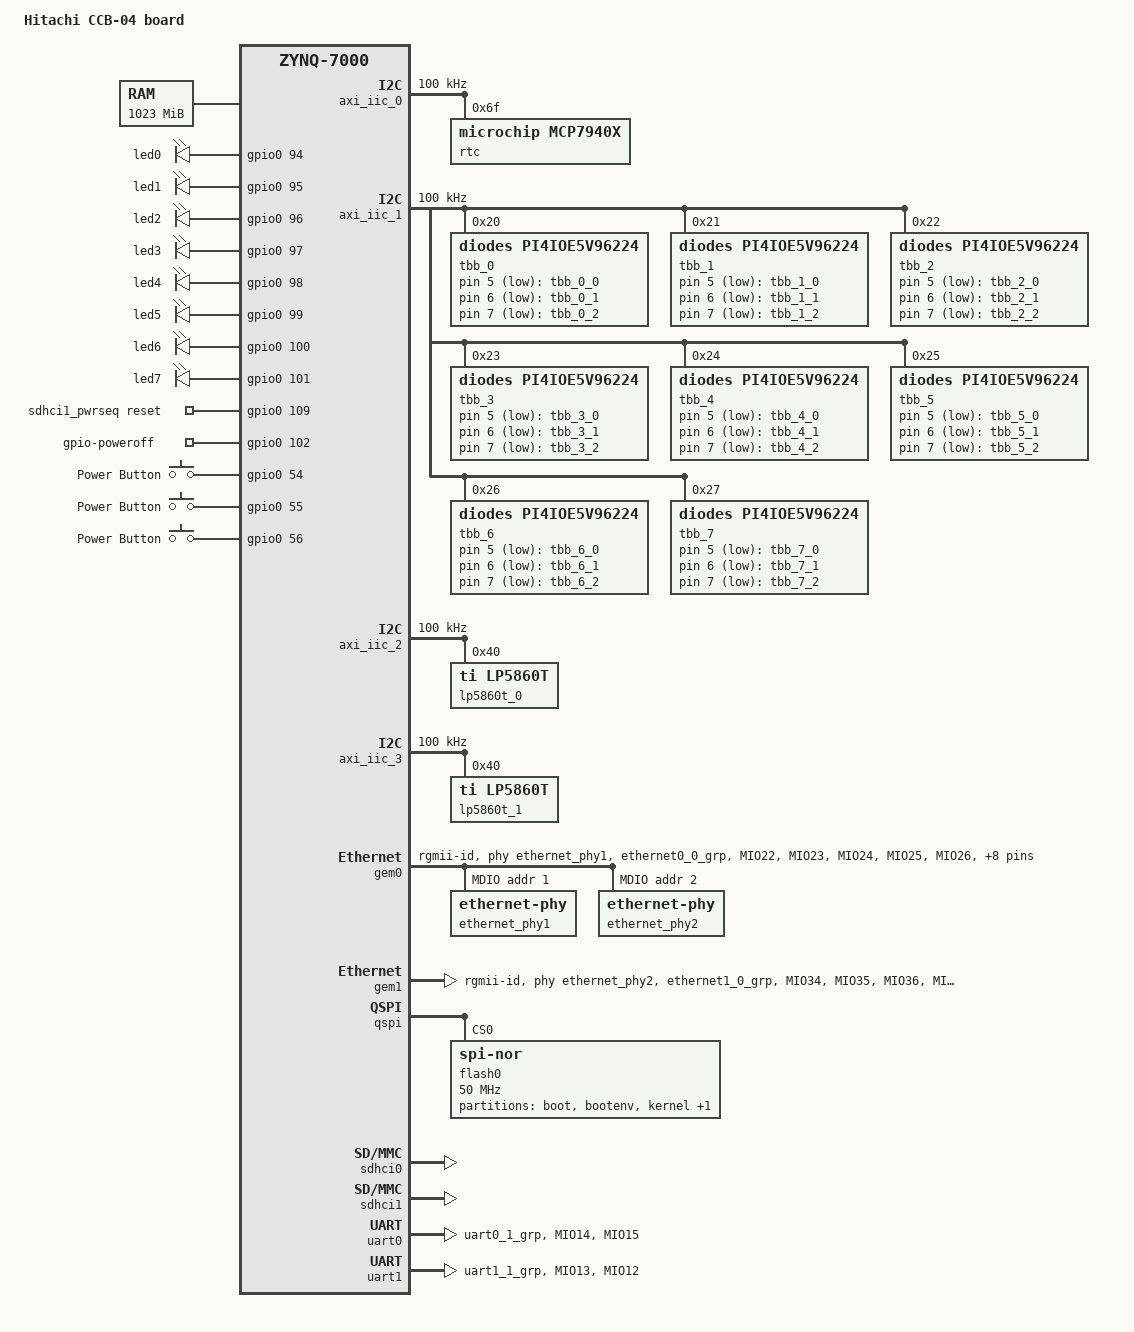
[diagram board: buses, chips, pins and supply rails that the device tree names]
// SPDX-License-Identifier: GPL-2.0+
/dts-v1/;
#include "zynq-7000.dtsi"
#include <dt-bindings/gpio/gpio.h>
#include <dt-bindings/interrupt-controller/irq.h>
#include <dt-bindings/leds/common.h>
#include <dt-bindings/input/input.h>
#include <dt-bindings/input/gpio-keys.h>

/ {
	model = "Hitachi CCB-04 board";
	compatible = "xlnx,zynq-7000";

	aliases {
		ethernet0 = &gem0;
		ethernet1 = &gem1;
		gpio512 = &gpio0;
		i2c0 = &axi_iic_0;
		i2c1 = &axi_iic_1;
		i2c2 = &axi_iic_2;
		i2c3 = &axi_iic_3;
		serial0 = &uart0;
		serial1 = &uart1;
		serial2 = &axi_rs485_0;
		serial3 = &axi_rs485_1;
		serial4 = &axi_rs485_2;
		serial5 = &axi_rs485_3;
		spi0 = &qspi;
		flash0 = &flash0;
	};

	cpus {
		cpu@0 {
			operating-points = <666666 1000000 333333 1000000>;
		};
	};

	memory@0 {
		device_type = "memory";
		reg = <0x00100000 0x3ff00000>;
	};

	chosen {
		bootargs = "console=ttyPS0,115200 root=/dev/mmcblk1p1 rw rootwait";
		stdout-path = "serial0:115200n8";
	};
	leds {
		compatible = "gpio-leds";
		led0 {
			gpios = <&gpio0 94 GPIO_ACTIVE_HIGH>;
			linux,default-trigger = "heartbeat";
			// function = LED_FUNCTION_HEARTBEAT;
		};
		led1 {
			gpios = <&gpio0 95 GPIO_ACTIVE_HIGH>;
			linux,default-trigger = "cpu";
			// function = LED_FUNCTION_CPU;
		};
		led2 {
			gpios = <&gpio0 96 GPIO_ACTIVE_HIGH>;
			linux,default-trigger = "mmc0";
			// function = LED_FUNCTION_DISK;
		};
		led3 {
            gpios = <&gpio0  97 GPIO_ACTIVE_HIGH>;
			linux,default-trigger = "mmc1";
			// function = LED_FUNCTION_DISK;
        };
		led4 { gpios = <&gpio0  98 GPIO_ACTIVE_HIGH>; };
		led5 { gpios = <&gpio0  99 GPIO_ACTIVE_HIGH>; };
		led6 { gpios = <&gpio0 100 GPIO_ACTIVE_HIGH>; };
		led7 { gpios = <&gpio0 101 GPIO_ACTIVE_HIGH>; };
    };
    tbb_0_leds {
        compatible = "gpio-leds";
        tbb_0_0 { gpios = <&tbb_0 5 GPIO_ACTIVE_LOW>; };
        tbb_0_1 { gpios = <&tbb_0 6 GPIO_ACTIVE_LOW>; };
        tbb_0_2 { gpios = <&tbb_0 7 GPIO_ACTIVE_LOW>; };
	};
    tbb_1_leds {
        compatible = "gpio-leds";
        tbb_1_0 { gpios = <&tbb_1 5 GPIO_ACTIVE_LOW>; };
        tbb_1_1 { gpios = <&tbb_1 6 GPIO_ACTIVE_LOW>; };
        tbb_1_2 { gpios = <&tbb_1 7 GPIO_ACTIVE_LOW>; };
	};
    tbb_2_leds {
        compatible = "gpio-leds";
        tbb_2_0 { gpios = <&tbb_2 5 GPIO_ACTIVE_LOW>; };
        tbb_2_1 { gpios = <&tbb_2 6 GPIO_ACTIVE_LOW>; };
        tbb_2_2 { gpios = <&tbb_2 7 GPIO_ACTIVE_LOW>; };
	};
    tbb_3_leds {
        compatible = "gpio-leds";
        tbb_3_0 { gpios = <&tbb_3 5 GPIO_ACTIVE_LOW>; };
        tbb_3_1 { gpios = <&tbb_3 6 GPIO_ACTIVE_LOW>; };
        tbb_3_2 { gpios = <&tbb_3 7 GPIO_ACTIVE_LOW>; };
	};
    tbb_4_leds {
        compatible = "gpio-leds";
        tbb_4_0 { gpios = <&tbb_4 5 GPIO_ACTIVE_LOW>; };
        tbb_4_1 { gpios = <&tbb_4 6 GPIO_ACTIVE_LOW>; };
        tbb_4_2 { gpios = <&tbb_4 7 GPIO_ACTIVE_LOW>; };
	};
    tbb_5_leds {
        compatible = "gpio-leds";
        tbb_5_0 { gpios = <&tbb_5 5 GPIO_ACTIVE_LOW>; };
        tbb_5_1 { gpios = <&tbb_5 6 GPIO_ACTIVE_LOW>; };
        tbb_5_2 { gpios = <&tbb_5 7 GPIO_ACTIVE_LOW>; };
	};
    tbb_6_leds {
        compatible = "gpio-leds";
        tbb_6_0 { gpios = <&tbb_6 5 GPIO_ACTIVE_LOW>; };
        tbb_6_1 { gpios = <&tbb_6 6 GPIO_ACTIVE_LOW>; };
        tbb_6_2 { gpios = <&tbb_6 7 GPIO_ACTIVE_LOW>; };
	};
    tbb_7_leds {
        compatible = "gpio-leds";
        tbb_7_0 { gpios = <&tbb_7 5 GPIO_ACTIVE_LOW>; };
        tbb_7_1 { gpios = <&tbb_7 6 GPIO_ACTIVE_LOW>; };
        tbb_7_2 { gpios = <&tbb_7 7 GPIO_ACTIVE_LOW>; };
	};
	amba_pl: amba_pl {
		#address-cells = <1>;
		#size-cells = <1>;
		compatible = "simple-bus";
		ranges ;
		clocking1: clocking1 {
			compatible = "xlnx,fclk";
			assigned-clocks = <&clkc 16>;
			assigned-clock-rates = <25000000>;
			#clock-cells = <0>;
			clock-output-names = "fabric_clk";
			clocks = <&clkc 16>;
		};
		clocking0: clocking0 {
			compatible = "xlnx,fclk";
			assigned-clocks = <&clkc 15>;
			assigned-clock-rates = <100000000>;
			#clock-cells = <0>;
			clock-output-names = "fabric_clk";
			clocks = <&clkc 15>;
		};
		axi_iic_0: i2c@41600000 {
            single-master;
            clock-frequency = <100000>;
			interrupts = < 0 35 4 >;
			xlnx,iic-freq-khz = <100>;
			compatible = "xlnx,axi-iic-2.1";
			xlnx,scl-inertial-delay = <0>;
			interrupt-parent = <&intc>;
			xlnx,ip-name = "axi_iic";
			xlnx,disable-setup-violation-check = <0>;
			reg = <0x41600000 0x10000>;
			#address-cells = <1>;
			#size-cells = <0>;
			clocks = <&clkc 15>;
			xlnx,gpo-width = <1>;
			xlnx,edk-iptype = "PERIPHERAL";
			xlnx,static-timing-reg-width = <0>;
			xlnx,sda-level = <1>;
			status = "okay";
			clock-names = "s_axi_aclk";
			xlnx,ten-bit-adr = <0>;
			xlnx,default-value = <0x0>;
			interrupt-names = "iic2intc_irpt";
			xlnx,iic-board-interface = "Custom";
			xlnx,timing-reg-width = <32>;
			xlnx,iic-freq = <100000>;
			xlnx,smbus-pmbus-host = <0>;
			xlnx,name = "axi_iic_0";
			xlnx,axi-aclk-freq-mhz = <100>;
			xlnx,sda-inertial-delay = <0>;
		};
		axi_iic_1: i2c@41610000 {
            single-master;
            clock-frequency = <100000>;
			interrupts = < 0 36 4 >;
			xlnx,iic-freq-khz = <100>;
			compatible = "xlnx,axi-iic-2.1";
			xlnx,scl-inertial-delay = <0>;
			interrupt-parent = <&intc>;
			xlnx,ip-name = "axi_iic";
			xlnx,disable-setup-violation-check = <0>;
			reg = <0x41610000 0x10000>;
			#address-cells = <1>;
			#size-cells = <0>;
			clocks = <&clkc 15>;
			xlnx,gpo-width = <1>;
			xlnx,edk-iptype = "PERIPHERAL";
			xlnx,static-timing-reg-width = <0>;
			xlnx,sda-level = <1>;
			status = "okay";
			clock-names = "s_axi_aclk";
			xlnx,ten-bit-adr = <0>;
			xlnx,default-value = <0x0>;
			interrupt-names = "iic2intc_irpt";
			xlnx,iic-board-interface = "Custom";
			xlnx,timing-reg-width = <32>;
			xlnx,iic-freq = <100000>;
			xlnx,smbus-pmbus-host = <0>;
			xlnx,name = "axi_iic_1";
			xlnx,axi-aclk-freq-mhz = <100>;
			xlnx,sda-inertial-delay = <0>;
		};
		axi_iic_2: i2c@41620000 {
            single-master;
            clock-frequency = <100000>;
			interrupts = < 0 52 4 >;
			xlnx,iic-freq-khz = <100>;
			compatible = "xlnx,axi-iic-2.1";
			xlnx,scl-inertial-delay = <0>;
			interrupt-parent = <&intc>;
			xlnx,ip-name = "axi_iic";
			xlnx,disable-setup-violation-check = <0>;
			reg = <0x41620000 0x10000>;
			#address-cells = <1>;
			#size-cells = <0>;
			clocks = <&clkc 15>;
			xlnx,gpo-width = <1>;
			xlnx,edk-iptype = "PERIPHERAL";
			xlnx,static-timing-reg-width = <0>;
			xlnx,sda-level = <1>;
			status = "okay";
			clock-names = "s_axi_aclk";
			xlnx,ten-bit-adr = <0>;
			xlnx,default-value = <0x0>;
			interrupt-names = "iic2intc_irpt";
			xlnx,iic-board-interface = "Custom";
			xlnx,timing-reg-width = <32>;
			xlnx,iic-freq = <100000>;
			xlnx,smbus-pmbus-host = <0>;
			xlnx,name = "axi_iic_1";
			xlnx,axi-aclk-freq-mhz = <100>;
			xlnx,sda-inertial-delay = <0>;
		};
		axi_iic_3: i2c@41630000 {
            single-master;
            clock-frequency = <100000>;
			interrupts = < 0 53 4 >;
			xlnx,iic-freq-khz = <100>;
			compatible = "xlnx,axi-iic-2.1";
			xlnx,scl-inertial-delay = <0>;
			interrupt-parent = <&intc>;
			xlnx,ip-name = "axi_iic";
			xlnx,disable-setup-violation-check = <0>;
			reg = <0x41630000 0x10000>;
			#address-cells = <1>;
			#size-cells = <0>;
			clocks = <&clkc 15>;
			xlnx,gpo-width = <1>;
			xlnx,edk-iptype = "PERIPHERAL";
			xlnx,static-timing-reg-width = <0>;
			xlnx,sda-level = <1>;
			status = "okay";
			clock-names = "s_axi_aclk";
			xlnx,ten-bit-adr = <0>;
			xlnx,default-value = <0x0>;
			interrupt-names = "iic2intc_irpt";
			xlnx,iic-board-interface = "Custom";
			xlnx,timing-reg-width = <32>;
			xlnx,iic-freq = <100000>;
			xlnx,smbus-pmbus-host = <0>;
			xlnx,name = "axi_iic_1";
			xlnx,axi-aclk-freq-mhz = <100>;
			xlnx,sda-inertial-delay = <0>;
		};
		axi_rs485_0: axi_rs485@43c00000 {
			clock-frequency = <100000000>;
			clock-names = "s_axi_aclk";
			clocks = <&clkc 15>;
			compatible = "ns16550a";
			device_type = "serial";
			reg-offset = <0x1000>;
			reg-shift = <2>;
			interrupt-names = "ip2intc_irpt";
			interrupt-parent = <&intc>;
			interrupts = < 0 31 4 >;
			reg = <0x43c00000 0x10000>;
		};
		axi_rs485_1: axi_rs485@43c10000 {
			clock-frequency = <100000000>;
			clock-names = "s_axi_aclk";
			clocks = <&clkc 15>;
			compatible = "ns16550a";
			device_type = "serial";
			reg-offset = <0x1000>;
			reg-shift = <2>;
			interrupt-parent = <&intc>;
			interrupts = < 0 32 4 >;
			reg = <0x43c10000 0x10000>;
		};
		axi_rs485_2: axi_rs485@43c20000 {
			clock-frequency = <100000000>;
			clock-names = "s_axi_aclk";
			clocks = <&clkc 15>;
			compatible = "ns16550a";
			device_type = "serial";
			reg-offset = <0x1000>;
			reg-shift = <2>;
			interrupt-parent = <&intc>;
			interrupts = < 0 33 4 >;
			reg = <0x43c20000 0x10000>;
		};
		axi_rs485_3: axi_rs485@43c30000 {
			clock-frequency = <100000000>;
			clock-names = "s_axi_aclk";
			clocks = <&clkc 15>;
			compatible = "ns16550a";
			device_type = "serial";
			reg-offset = <0x1000>;
			reg-shift = <2>;
			interrupt-parent = <&intc>;
			interrupts = < 0 34 4 >;
			reg = <0x43c30000 0x10000>;
		};
	};
	sdhci1_pwrseq: emmc-pwrseq {
		compatible = "mmc-pwrseq-emmc";
		reset-gpios = <&gpio0 109 GPIO_ACTIVE_HIGH>;
	};

	gpio-poweroff {
		compatible = "gpio-poweroff";
		gpios = <&gpio0 102 GPIO_ACTIVE_HIGH>;
		/* シャットダウン時にGPIO 102をHIGHに駆動して電源を切断 */
		/* ハードウェアの仕様に応じてGPIO_ACTIVE_LOWに変更する必要がある場合があります */
	};

	gpio-keys {
		compatible = "gpio-keys";
		autorepeat;

		power-button {
			label = "Power Button";
			/* パワーオフをトリガーするGPIOピン番号を指定 */
			gpios = <&gpio0 54 GPIO_ACTIVE_HIGH>;
			linux,code = <KEY_POWER>;
			debounce-interval = <50>; /* 50ms デバウンス */
			wakeup-source;
		};
		power-button-2 {
			label = "Power Button";
			/* パワーオフをトリガーするGPIOピン番号を指定 */
			gpios = <&gpio0 55 GPIO_ACTIVE_HIGH>;
			linux,code = <KEY_POWER>;
			debounce-interval = <50>; /* 50ms デバウンス */
			wakeup-source;
		};
		power-button-3 {
			label = "Power Button";
			/* パワーオフをトリガーするGPIOピン番号を指定 */
			gpios = <&gpio0 56 GPIO_ACTIVE_HIGH>;
			linux,code = <KEY_POWER>;
			debounce-interval = <50>; /* 50ms デバウンス */
			wakeup-source;
		};
	};
};

&gem0 {
	status = "okay";
	phy-mode = "rgmii-id";
	phy-handle = <&ethernet_phy1>;
    pinctrl-names = "default";
    pinctrl-0 = <&pinctrl_gem0_rgmii>;
    mdio0: mdio {
        #address-cells = <1>;
        #size-cells = <0>;
        ethernet_phy1: ethernet-phy@1 {
            reg = <1>;
		    device_type = "ethernet-phy";
        };
        ethernet_phy2: ethernet-phy@2 {
            reg = <2>;
            device_type = "ethernet-phy";
        };
    };
};
&gem1 {
	status = "okay";
	phy-mode = "rgmii-id";
	phy-handle = <&ethernet_phy2>;
    pinctrl-names = "default";
    pinctrl-0 = <&pinctrl_gem1_rgmii>;
};
&gpio0 {
	emio-gpio-width = <64>;
	gpio-mask-high = <0x0>;
	gpio-mask-low = <0x5600>;
};
&axi_iic_0 {
	rtc: mcp7940x@6f {
		compatible = "microchip,mcp7940x";
		reg = <0x6f>;
	};
};
&axi_iic_1 {
    /* TBB GPIO expanders - uncomment as needed based on hardware configuration */
    tbb_0: tbb@20 {
        compatible = "diodes,pi4ioe5v96224";
        reg = <0x20>;
        gpio-controller;
        #gpio-cells = <2>;
    };
    tbb_1: tbb@21 {
        compatible = "diodes,pi4ioe5v96224";
        reg = <0x21>;
        gpio-controller;
        #gpio-cells = <2>;
    };
    tbb_2: tbb@22 {
        compatible = "diodes,pi4ioe5v96224";
        reg = <0x22>;
        gpio-controller;
        #gpio-cells = <2>;
    };
    tbb_3: tbb@23 {
        compatible = "diodes,pi4ioe5v96224";
        reg = <0x23>;
        gpio-controller;
        #gpio-cells = <2>;
    };
    tbb_4: tbb@24 {
        compatible = "diodes,pi4ioe5v96224";
        reg = <0x24>;
        gpio-controller;
        #gpio-cells = <2>;
    };
    tbb_5: tbb@25 {
        compatible = "diodes,pi4ioe5v96224";
        reg = <0x25>;
        gpio-controller;
        #gpio-cells = <2>;
    };
    tbb_6: tbb@26 {
        compatible = "diodes,pi4ioe5v96224";
        reg = <0x26>;
        gpio-controller;
        #gpio-cells = <2>;
    };
    tbb_7: tbb@27 {
        compatible = "diodes,pi4ioe5v96224";
        reg = <0x27>;
        gpio-controller;
        #gpio-cells = <2>;
    };
};
&axi_iic_2 {
	lp5860t_0: lp5860t_0@40 {
		compatible = "ti,lp5860t";
		reg = <0x40>;
        /* SW線とCS線の数を設定 */
        ti,num-sw = <7>;   /* SW0-SW6 */
        ti,num-cs = <16>;   /* CS0-CS15 */
        ti,led-base-name = "led0";
        ti,disable-virtual;
	};
};
&axi_iic_3 {
	lp5860t_1: lp5860t_1@40 {
		compatible = "ti,lp5860t";
		reg = <0x40>;
        /* SW線とCS線の数を設定 */
        ti,num-sw = <7>;   /* SW0-SW6 */
        ti,num-cs = <16>;   /* CS0-CS15 */
        ti,led-base-name = "led1";
        ti,disable-virtual;
	};
};
&intc {
	num_cpus = <2>;
	num_interrupts = <96>;
};
&qspi {
	is-dual = <0>;
	num-cs = <1>;
	spi-rx-bus-width = <4>;
	spi-tx-bus-width = <4>;
	status = "okay";
	xlnx,qspi-mode = <0x1>;
	xlnx,fb-clk = <0x0>;
	flash0: flash@0 {
		compatible = "jedec,spi-nor";
		#address-cells = <1>;
		#size-cells = <1>;
		reg = <0>;
		spi-max-frequency = <50000000>;
		partition@0 {
			/* 5MB for BOOT.BIN (zynq_fsbl.elf, system.bit, u-boot.elf, system.dtb)*/
			label = "boot";
			reg = <0x00000000 0x00500000>;
		};
		partition@1 {
			/* 128KB for u-boot environment variable */
			label = "bootenv";
			reg = <0x00500000 0x00020000>;
		};
		partition@2 {
			/* 10.5MB for linux kernel */
			label = "kernel";
			reg = <0x00520000 0x00a80000>;
		};
		partition@3 {
			/* u-boot boot script */
			label = "boot_script";
			reg = <0x00fa0000 0x00000000>;
		};
	};
};
&sdhci0 {
	status = "okay";
	xlnx,has-cd = <0x1>;
	xlnx,has-power = <0x0>;
	xlnx,has-wp = <0x0>;
	no-1-8-v;
};
&sdhci1 {
	status = "okay";
	xlnx,has-cd = <0x0>;
	xlnx,has-power = <0x0>;
	xlnx,has-wp = <0x0>;
	no-1-8-v;
	mmc-pwrseq = <&sdhci1_pwrseq>;
};
&uart0 {
	cts-override ;
	device_type = "serial";
	status = "okay";
	pinctrl-names = "default";
	pinctrl-0 = <&pinctrl_uart0_default>;
};
&uart1 {
	device_type = "serial";
	status = "okay";
	pinctrl-names = "default";
	pinctrl-0 = <&pinctrl_uart1_default>;
};
&clkc {
	fclk-enable = <0x3>;
	ps-clk-frequency = <33333333>;
};
&watchdog0 {
	timeout-sec = <120>;
	reset-on-timeout;
};
&pinctrl0 {
    /* GEM0 RGMII: MIO16–27 */
    pinctrl_gem0_rgmii: gem0-rgmii-default {
        mux {
            groups = "ethernet0_0_grp";
            function = "ethernet0";
        };
        conf {
            groups = "ethernet0_0_grp";
			slew-rate = <1>; /* Fast slew rate */
			power-source = <1>; /* LVCMOS18 */
        };
		conf-rx {
			pins = "MIO22", "MIO23", "MIO24", "MIO25", "MIO26", "MIO27";
			bias-high-impedance;
			low-power-disable; /* enable receiver */
		};
		conf-tx {
			pins = "MIO16", "MIO17", "MIO18", "MIO19", "MIO20", "MIO21";
			bias-disable;
			low-power-enable; /* disable receiver */
		};
        /* MDIO(MIO52/53) を GEM0 側の MDIO0 に割当て */
        mux-mdio {
            groups = "mdio0_0_grp";
            function = "mdio0";
        };
        conf-mdio {
            groups = "mdio0_0_grp";
			slew-rate = <0>; /* Slow slew rate */
			power-source = <1>; /* LVCMOS18 */
			bias-disable;
        };
    };

    /* GEM1 RGMII: MIO28–39 */
    pinctrl_gem1_rgmii: gem1-rgmii-default {
        mux {
            groups = "ethernet1_0_grp";
            function = "ethernet1";
        };
        conf {
            groups = "ethernet1_0_grp";
			slew-rate = <1>; /* Fast slew rate */
			power-source = <1>; /* LVCMOS18 */
        };
		conf-rx {
			pins = "MIO34", "MIO35", "MIO36", "MIO37", "MIO38", "MIO39";
			bias-high-impedance;
			low-power-disable; /* enable receiver */
		};
		conf-tx {
			pins = "MIO28", "MIO29", "MIO30", "MIO31", "MIO32", "MIO33";
			bias-disable;
			low-power-enable; /* disable receiver */
		};
    };
	pinctrl_uart0_default: uart0-default {
		mux {
			groups = "uart0_1_grp";
			function = "uart0";
		};

		conf {
			groups = "uart0_1_grp";
			slew-rate = <0>; /* Slow slew rate */
			power-source = <3>; /* LVCMOS33 */
		};

		conf-rx {
			pins = "MIO14";
			bias-high-impedance;
		};

		conf-tx {
			pins = "MIO15";
			bias-disable;
		};
	};
	pinctrl_uart1_default: uart1-default {
		mux {
			groups = "uart1_1_grp";
			function = "uart1";
		};

		conf {
			groups = "uart1_1_grp";
			slew-rate = <0>; /* Slow slew rate */
			power-source = <3>; /* LVCMOS33 */
		};

		conf-rx {
			pins = "MIO13";
			bias-high-impedance;
		};

		conf-tx {
			pins = "MIO12";
			bias-disable;
		};
	};
};
